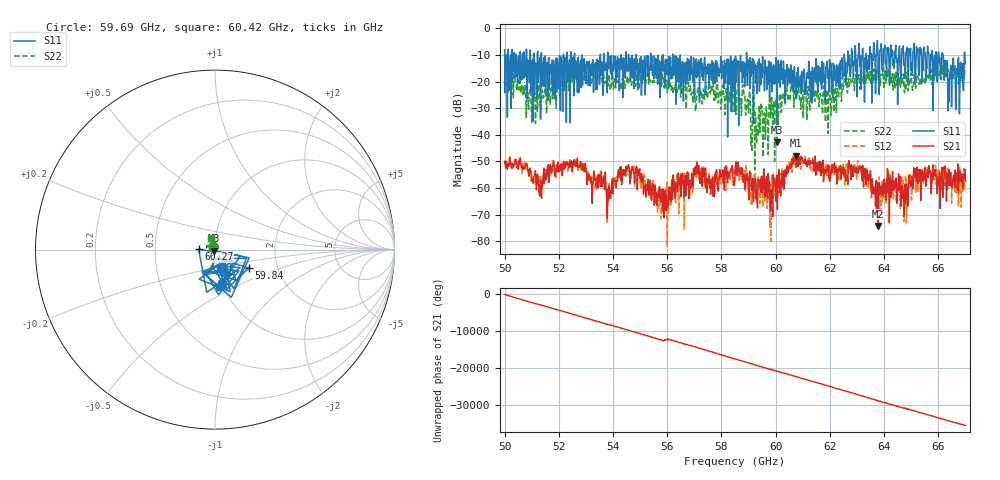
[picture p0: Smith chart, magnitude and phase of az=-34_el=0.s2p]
!Created with skrf (http://scikit-rf.org).
# GHz S RI R 50.0
!freq ReS11 ImS11 ReS21 ImS21 ReS12 ImS12 ReS22 ImS22
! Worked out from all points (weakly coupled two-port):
!   1001 points, 50 GHz to 67 GHz, reference 50 ohm
!   highest |S21| = -47.83 dB at 60.74 GHz (marker M1); lowest = -74.2 dB at 63.79 GHz (marker M2)
!   lowest |S11| = -42.8 dB at 60.05 GHz (marker M3), VSWR 1.01, Z = 49.5 - j0.537 ohm
!   |S11| at or under -10 dB: 51.36 GHz to 52.17 GHz (809.3 MHz wide, 1.56 % of centre); 56.48 GHz to 58.92 GHz (2.446 GHz wide, 4.24 % of centre); 58.93 GHz to 62.53 GHz (3.598 GHz wide, 5.92 % of centre) (the widest 3 of 67)
!   |S22| runs from -53.1 to -13.2 dB; largest |S21 - S12| = 0.0018
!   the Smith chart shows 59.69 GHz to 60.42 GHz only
!   S11 on the Smith chart (normalised r, x): 59.69 GHz: 1.01, -0.38; 59.84 GHz: 1.42, -0.31; 60.27 GHz: 0.83, +0.00; 60.42 GHz: 0.96, -0.42
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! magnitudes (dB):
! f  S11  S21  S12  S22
! 50 GHz  -8.0  -50.7  -49.8  -23.7
! 51.33 GHz  -34.1  -56.7  -58.4  -30.4
! 52.84 GHz  -11.1  -53.0  -53.2  -19.9
! 53.84 GHz  -14.6  -59.3  -61.2  -17.3
! 54.52 GHz  -16.0  -52.9  -53.4  -17.9
! 55.68 GHz  -13.7  -61.9  -62.3  -20.7
! 58.5 GHz  -31.2  -54.5  -53.8  -24.2
! 59.69 GHz  -14.5  -62.8  -67.6  -33.9
! 59.84 GHz  -13.4  -60.7  -65.0  -26.0
! 60.05 GHz  -42.8  -55.1  -59.5  -28.8
! 60.27 GHz  -20.8  -59.3  -60.0  -26.1
! 60.42 GHz  -13.6  -51.6  -54.8  -23.2
! 60.74 GHz  -18.7  -47.8  -48.6  -24.2
! 61.34 GHz  -28.1  -50.5  -53.3  -26.1
! 63.11 GHz  -14.3  -53.0  -52.7  -22.8
! 63.79 GHz  -17.0  -74.2  -75.7  -17.7
! 64.18 GHz  -11.9  -56.4  -59.1  -17.8
! 64.81 GHz  -10.0  -58.7  -57.0  -22.7
! 65.18 GHz  -11.2  -55.8  -56.9  -20.9
! 66.08 GHz  -19.0  -60.6  -56.8  -16.1
! 66.44 GHz  -18.8  -55.6  -58.9  -16.6
! 67 GHz  -13.3  -57.5  -57.7  -14.5
